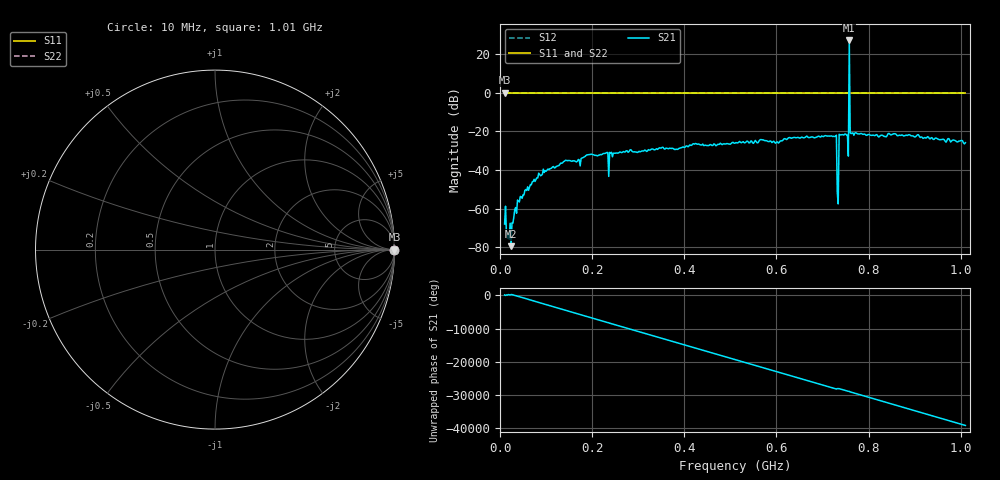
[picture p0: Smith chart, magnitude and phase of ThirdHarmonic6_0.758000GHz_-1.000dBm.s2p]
! 8/16/2025 1:20:54 AM
! C:\ANRITSUVNA\TEMP\TEMP.S2P
! CHANNEL.1
! TR.MEASUREMENT
! RAW.DATA
! RF.CORRECTION.OFF
! AVERAGING.OFF
! IF.BANDWIDTH: 5KHZ
! SWEEPTYPE:  FREQ.SWEEP(Linear)
! Reference Plane Port Info
! PORT:  PORT1  PORT2
! DISTANCE:  0  m  0  m
! TIME:  0  s  0  s
! PHASE.OFFSET:  0  deg.  0  deg.
! LOSS:  0  dB  0  dB
! REF.LOSS:  0  dB  0  dB
! REF.FREQ:  0  Hz  0  Hz
! Power Info
! POWER:  -20  dBm  -20  dBm
! EFF.POWER:  -20  dBm  -20  dBm
! SOURCE.ATTEN:  0  dB  0  dB
! TEST.ATTEN:  0  dB  0  dB
# GHZ S RI R 50.0
! FREQ.GHZ  S11RE  S11IM  S21RE  S21IM  S12RE  S12IM  S22RE  S22IM
!; PortSelection: Port_12
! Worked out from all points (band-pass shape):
!   501 points, 10 MHz to 1.01 GHz, reference 50 ohm
!   highest |S21| = 26.98 dB at 758 MHz (marker M1); lowest = -79.3 dB at 24 MHz (marker M2)
!   |S21| within 3 dB of the highest: 757.8996 MHz to 758.1256 MHz (226 kHz wide, 0.0298 % of centre)
!   lowest |S11| = 0.0 dB at 10 MHz (marker M3)
!   |S11| at or under -10 dB: nowhere
!   |S22| runs from 0.0 to 0.0 dB; largest |S21 - S12| = 22
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0.01  1 0  -0.000284 0.000286  1 0  1 0
0.02  1 0  -0.000163 -7.4e-06  1 0  1 0
0.024  1 0  -6.1e-05 -8.89e-05  1 0  1 0
0.03  1 0  7.78e-05 0.000601  1 0  1 0
0.042  1 0  0.00108 -0.00104  1 0  1 0
0.082  1 0  -0.00249 0.00575  1 0  1 0
0.142  1 0  -0.0169 -0.00562  1 0  1 0
0.178  1 0  -0.0203 -0.00278  1 0  1 0
0.344  1 0  0.033 -0.0148  1 0  1 0
0.51  1 0  -0.035 0.035  1 0  1 0
0.678  1 0  -0.0656 -0.0287  1 0  1 0
0.726  1 0  0.0277 0.0685  1 0  1 0
0.73  1 0  -0.00118 -0.0793  1 0  1 0
0.736  1 0  0.0785 0.03  1 0  1 0
0.74  1 0  -0.0625 -0.0522  1 0  1 0
0.752  1 0  -0.00445 0.0804  1 0  1 0
0.754  1 0  0.0764 0.0222  1 0  1 0
0.758  1 0  4.647 -21.84  1 0  1 0
0.762  1 0  0.0562 0.0671  1 0  1 0
0.764  1 0  0.0771 -0.047  1 0  1 0
0.844  1 0  0.0814 -0.0351  1 0  1 0
1.01  1 0  -0.016 0.0483  1 0  1 0
